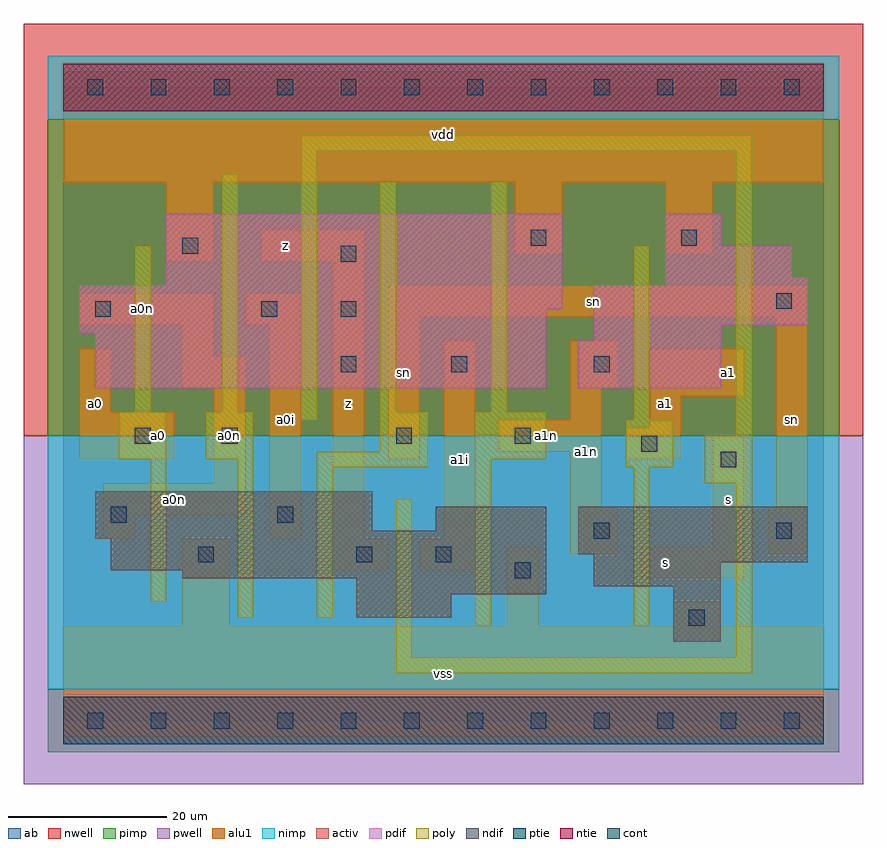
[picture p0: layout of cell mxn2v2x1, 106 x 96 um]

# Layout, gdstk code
import gdstk
lib = gdstk.Library(unit=1e-6, precision=1e-09)
def R(c, l, rs):  # rectangles x0, y0, x1, y1
    for r in rs: c.add(gdstk.rectangle(r[:2], r[2:], *l))
def A(c, l, x, y, w, h, nx, ny, dx, dy):  # array of equal rectangles
    R(c, l, [(x+i*dx, y+j*dy, x+i*dx+w, y+j*dy+h) for i in range(nx) for j in range(ny)])
ndif = (3, 0)
pdif = (4, 0)
ntie = (5, 0)
ptie = (6, 0)
cont = (25, 0)
pwell = (41, 0)
nwell = (42, 0)
activ = (43, 0)
pimp = (44, 0)
nimp = (45, 0)
poly = (46, 0)
alu1 = (49, 0)
ab = (63, 0)

mxn2v2x1 = lib.new_cell('mxn2v2x1')
R(mxn2v2x1, ndif, [(77,10,83,17), (37,13,49,16), (37,16,61,18), (67,17,83,20), (15,18,61,19), (6,19,61,23), (67,20,94,21), (65,21,94,27), (4,23,61,24), (4,24,39,29), (47,24,61,27)])
R(mxn2v2x1, pdif, [(4,42,61,49), (65,42,83,48), (67,48,83,50), (2,49,61,52), (67,50,94,55), (2,52,63,55), (13,55,63,64), (76,55,94,56), (76,56,92,60), (76,60,83,64)])
R(mxn2v2x1, ntie, [(0,77,96,83)])
R(mxn2v2x1, ptie, [(0,-3,96,3)])
A(mxn2v2x1, cont, 3, -1, 2, 2, 12, 2, 8, 80)
A(mxn2v2x1, cont, 35, 44, 2, 2, 1, 3, 0, 7)
R(mxn2v2x1, cont, [(79,12,81,14), (57,18,59,20), (17,20,19,22), (37,20,39,22), (47,20,49,22), (67,23,69,25), (90,23,92,25), (6,25,8,27), (27,25,29,27), (83,32,85,34), (73,34,75,36), (9,35,11,37), (20,35,22,37), (42,35,44,37), (57,35,59,37), (49,44,51,46), (67,44,69,46), (4,51,6,53), (25,51,27,53), (90,52,92,54), (15,59,17,61), (59,60,61,62), (78,60,80,62)])
R(mxn2v2x1, pwell, [(-5,-8,101,36)])
R(mxn2v2x1, nwell, [(-5,36,101,88)])
R(mxn2v2x1, activ, [(0,-3,96,3), (77,10,83,17), (37,13,49,16), (37,16,61,18), (67,17,83,20), (15,18,61,19), (6,19,61,23), (67,20,94,21), (65,21,94,27), (4,23,61,24), (4,24,39,29), (47,24,61,27), (4,42,61,49), (65,42,83,48), (67,48,83,50), (2,49,61,52), (67,50,94,55), (2,52,63,55), (13,55,63,64), (76,55,94,56), (76,56,92,60), (76,60,83,64), (0,77,96,83)])
R(mxn2v2x1, pimp, [(-2,-4,98,4), (-2,36,98,76)])
R(mxn2v2x1, nimp, [(-2,4,98,36), (-2,76,98,84)])
R(mxn2v2x1, poly, [(42,6,87,8), (42,8,44,28), (85,8,87,30), (52,12,54,33), (72,12,74,32), (22,13,24,33), (32,13,34,32), (11,15,13,33), (81,30,87,36), (32,32,46,34), (71,32,77,38), (7,33,13,39), (18,33,24,39), (52,33,61,39), (40,34,46,39), (85,36,87,72), (30,38,32,72), (72,38,74,60), (9,39,11,60), (20,39,22,69), (40,39,42,68), (54,39,56,68), (30,72,87,74)])
R(mxn2v2x1, alu1, [(0,-2,96,12), (15,12,21,23), (56,12,60,22), (77,12,83,15), (73,18,86,22), (34,19,41,23), (45,19,52,23), (64,21,70,27), (89,21,94,27), (82,22,86,36), (5,23,9,26), (26,23,30,50), (34,23,38,58), (48,23,52,48), (5,26,23,30), (64,27,68,34), (90,27,94,51), (19,30,23,42), (2,33,14,39), (41,33,45,51), (71,33,78,37), (55,34,68,38), (74,37,78,41), (64,38,68,42), (2,39,6,47), (74,41,86,47), (15,42,23,46), (64,42,70,48), (15,46,19,50), (2,50,19,54), (23,50,30,54), (41,51,94,55), (13,58,19,68), (25,58,38,62), (57,59,63,68), (76,59,82,68), (0,68,96,82)])
R(mxn2v2x1, ab, [(0,0,96,80)])
mxn2v2x1.add(gdstk.Label('a0n', (14,28), layer=49, texttype=0))
mxn2v2x1.add(gdstk.Label('a0n', (21,36), layer=49, texttype=0))
mxn2v2x1.add(gdstk.Label('a0n', (10,52), layer=49, texttype=0))
mxn2v2x1.add(gdstk.Label('sn', (43,44), layer=49, texttype=0))
mxn2v2x1.add(gdstk.Label('a0i', (28,38), layer=49, texttype=0))
mxn2v2x1.add(gdstk.Label('a1n', (61,36), layer=49, texttype=0))
mxn2v2x1.add(gdstk.Label('a1n', (66,34), layer=49, texttype=0))
mxn2v2x1.add(gdstk.Label('a1i', (50,33), layer=49, texttype=0))
mxn2v2x1.add(gdstk.Label('sn', (92,38), layer=49, texttype=0))
mxn2v2x1.add(gdstk.Label('sn', (67,53), layer=49, texttype=0))
mxn2v2x1.add(gdstk.Label('a0', (12,36), layer=49, texttype=0))
mxn2v2x1.add(gdstk.Label('a0', (4,40), layer=49, texttype=0))
mxn2v2x1.add(gdstk.Label('z', (36,40), layer=49, texttype=0))
mxn2v2x1.add(gdstk.Label('z', (28,60), layer=49, texttype=0))
mxn2v2x1.add(gdstk.Label('vss', (48,6), layer=49, texttype=0))
mxn2v2x1.add(gdstk.Label('vdd', (48,74), layer=49, texttype=0))
mxn2v2x1.add(gdstk.Label('s', (76,20), layer=49, texttype=0))
mxn2v2x1.add(gdstk.Label('s', (84,28), layer=49, texttype=0))
mxn2v2x1.add(gdstk.Label('a1', (84,44), layer=49, texttype=0))
mxn2v2x1.add(gdstk.Label('a1', (76,40), layer=49, texttype=0))

lib.write_gds('mxn2v2x1.gds')
